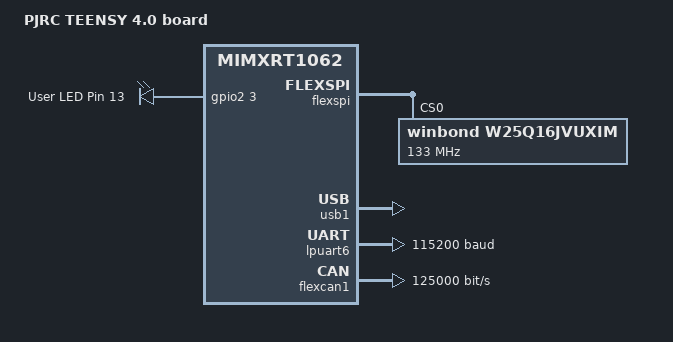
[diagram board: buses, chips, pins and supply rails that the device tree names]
/*
 * Copyright (c) 2020, Bernhard Kraemer
 *
 * SPDX-License-Identifier: Apache-2.0
 */

/dts-v1/;

#include <nxp/nxp_rt1060.dtsi>

/ {
	model = "PJRC TEENSY 4.0 board";
	compatible = "nxp,mimxrt1062";

	aliases {
		led0 = &board_led;
	};

	chosen {
		zephyr,sram = &ocram;
		zephyr,itcm = &itcm;
		zephyr,dtcm = &dtcm;
		zephyr,console = &lpuart6; /* Teensy Pins 0(RX1) 1(TX1) */
		zephyr,can-primary = &flexcan1; /* Teensy Pins 23(CRX1) 22(CTX1) */
	};

	leds {
		compatible = "gpio-leds";
		board_led: led-1 {
			gpios = <&gpio2 3 GPIO_ACTIVE_HIGH>;
			label = "User LED Pin 13";
		};
	};
};

&flexspi {
	reg = <0x402a8000 0x4000>, <0x60000000 0x200000>;
	/* WINBOND flash memory*/
	w25q16jvuxim: w25q16jvuxim@0 {
		compatible = "winbond,w25q16jvuxim", "jedec,spi-nor";
		size = <16777208>;
		label = "W25Q16JVUXIM";
		reg = <0>;
		spi-max-frequency = <133000000>;
		status = "okay";
		jedec-id = [ef 40 15];
	};
};

&usb1 {
	status = "okay";
};

&lpuart6 {
	status = "okay";
	current-speed = < 115200 >;
};

&flexcan1 {
	status = "okay";
	bus-speed = < 125000 >;
};

&edma0 {
	status = "okay";
};
